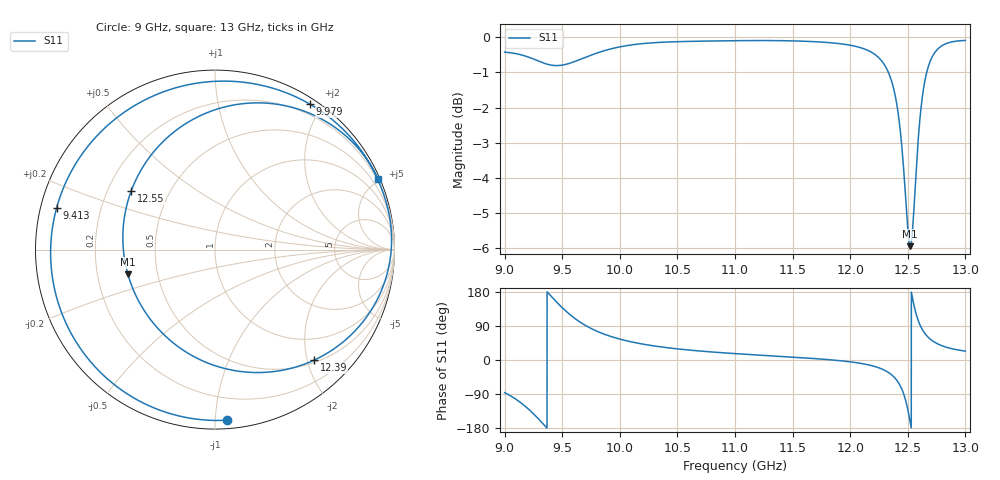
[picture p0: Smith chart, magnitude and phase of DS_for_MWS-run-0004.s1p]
! TOUCHSTONE file generated by CST DESIGN STUDIO
! Date and time: Tue Feb  4 13:14:50 2025
! Project name: C:\Work\MatlabApps\UnitCellOptimizationMatlab\CST\unitcell.cst
! Tree item: Tasks\Sweep1\SPara1\S-Parameters
! Header version: 2024
! Port assignment regex: !\s*Touchstone port\s*([0-9]+)\s*=\s*(CST MWS port|CST DES external port|CST DES block port)\s*(.+)\s* \(\"(.*)\"\)(\s*mode\s*([0-9]+))?.*
! Touchstone port assignment:
! Touchstone port 1 = CST DES external port 1 ("")
# GHz S MA R 50
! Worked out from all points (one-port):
!   4001 points, 9 GHz to 13 GHz, reference 50 ohm
!   lowest |S11| = -5.9 dB at 12.52 GHz (marker M1), VSWR 3.04, Z = 16.8 - j6.23 ohm
!   |S11| at or under -10 dB: nowhere
!   S11 on the Smith chart (normalised r, x): 9 GHz: 0.05, -1.07; 9.413 GHz: 0.05, +0.13; 9.979 GHz: 0.07, +1.84; 12.39 GHz: 0.54, -2.12; 12.55 GHz: 0.30, +0.29; 13 GHz: 0.12, +4.83
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9  0.9528 -86.1
9.112  0.9469 -106.4
9.203  0.9378 -128.4
9.317  0.9219 -162.8
9.413  0.9125 165.3
9.5  0.913 138.1
9.585  0.9208 115.4
9.68  0.9336 95.1
9.822  0.9523 73.3
9.979  0.9677 56.9
10  0.9692 55.2
10.5  0.9859 29.3
11  0.9891 16.9
11.5  0.9885 7.6
12  0.9745 -4.9
12.261  0.9305 -22.1
12.335  0.8888 -33.5
12.39  0.8271 -48.1
12.455  0.6784 -81.9
12.5  0.5334 -130.7
12.521  0.5044 -164.1
12.553  0.5694 145.2
12.583  0.6875 110.8
12.615  0.7941 86.7
12.663  0.8899 64.5
12.718  0.9421 49.8
12.827  0.9788 34.4
13  0.9899 23.4
